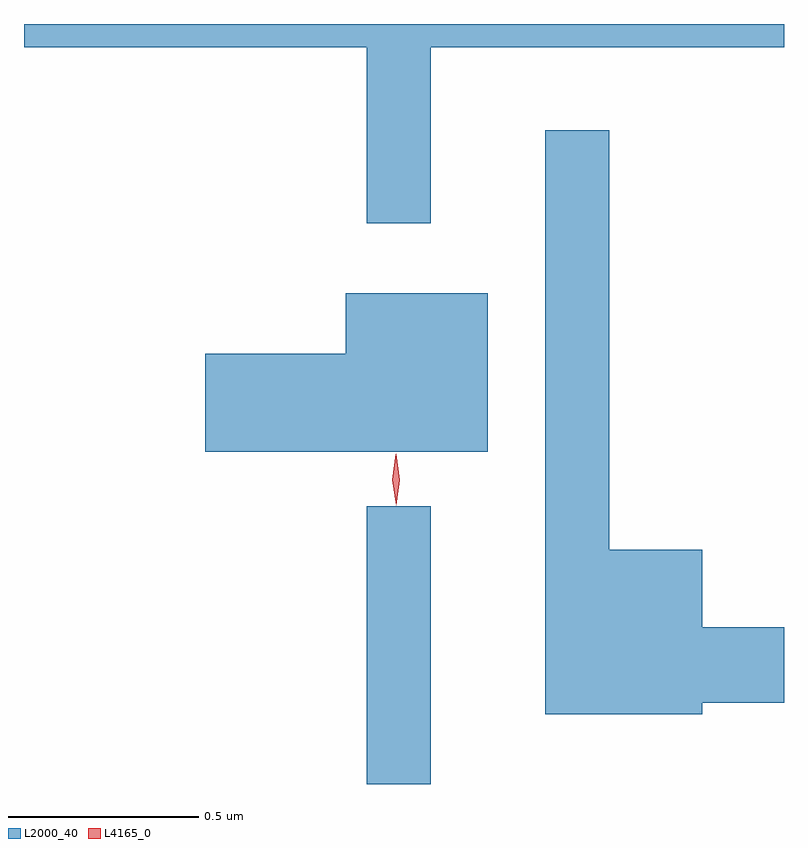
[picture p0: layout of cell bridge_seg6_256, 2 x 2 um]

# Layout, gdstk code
import gdstk
lib = gdstk.Library(unit=1e-6, precision=1e-09)
def R(c, l, rs):  # rectangles x0, y0, x1, y1
    for r in rs: c.add(gdstk.rectangle(r[:2], r[2:], *l))
def P(c, l, *ps):  # polygons
    for p in ps: c.add(gdstk.Polygon(p, *l))
L2000_40 = (2000, 40)
L4165_0 = (4165, 0)

bridge_seg6_256 = lib.new_cell('bridge_seg6_256')
R(bridge_seg6_256, L2000_40, [(1380.111,1576.957,1380.279,1577.688)])
P(bridge_seg6_256, L2000_40, [(1380.279,1578.896),(1381.209,1578.896),(1381.209,1578.957),(1379.209,1578.957),(1379.209,1578.896),(1380.111,1578.896),(1380.111,1578.433),(1380.279,1578.433)],
  [(1380.994,1577.171),(1381.209,1577.171),(1381.209,1577.369),(1380.994,1577.369),(1380.994,1577.574),(1380.749,1577.574),(1380.749,1578.678),(1380.581,1578.678),(1380.581,1577.141),(1380.994,1577.141)],
  [(1380.429,1578.249),(1380.056,1578.249),(1380.056,1578.089),(1379.686,1578.089),(1379.686,1577.831),(1380.429,1577.831)])
P(bridge_seg6_256, L4165_0, [(1380.188,1577.693),(1380.188,1577.694),(1380.178,1577.756),(1380.187,1577.819),(1380.187,1577.82),(1380.188,1577.819),(1380.198,1577.756),(1380.189,1577.694)],
  [(1380.188,1577.69),(1380.188,1577.69),(1380.178,1577.758),(1380.187,1577.825),(1380.188,1577.826),(1380.188,1577.825),(1380.198,1577.758),(1380.189,1577.69)])

lib.write_gds('bridge_seg6_256.gds')
